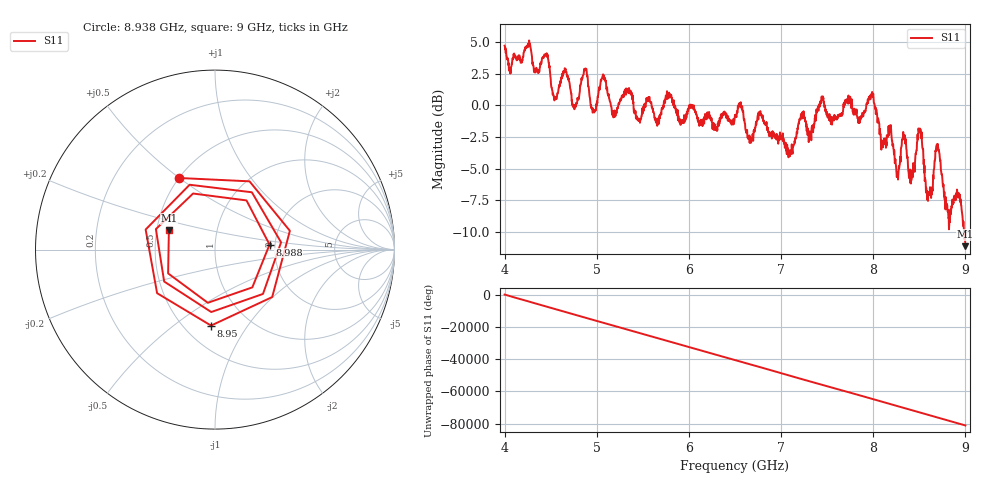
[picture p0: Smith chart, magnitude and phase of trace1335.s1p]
! Created with skrf 1.8.0 (http://scikit-rf.org).
# Hz S RI R 50.0
!freq ReS11 ImS11
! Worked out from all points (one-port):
!   1601 points, 4 GHz to 9 GHz, reference 50 ohm
!   lowest |S11| = -11.1 dB at 9 GHz (marker M1), VSWR 1.77, Z = 29 + j6.72 ohm
!   |S11| at or under -10 dB: 8.985785 GHz to end of sweep
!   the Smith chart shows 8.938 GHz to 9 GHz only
!   S11 on the Smith chart (normalised r, x): 8.938 GHz: 0.50, +0.50; 8.95 GHz: 0.67, -0.69; 8.988 GHz: 1.87, +0.11; 9 GHz: 0.58, +0.13
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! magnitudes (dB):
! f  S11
! 4 GHz  4.7
! 4.45 GHz  4.1
! 4.547 GHz  0.6
! 4.625 GHz  2.5
! 4.759 GHz  -0.3
! 4.875 GHz  2.8
! 4.959 GHz  -0.3
! 5.066 GHz  2.3
! 5.181 GHz  -0.9
! 5.25 GHz  0.3
! 5.875 GHz  -0.8
! 6.5 GHz  -0.8
! 7.125 GHz  -3.8
! 7.222 GHz  -0.7
! 7.75 GHz  0.7
! 7.988 GHz  1.1
! 8.259 GHz  -5.3
! 8.328 GHz  -2.3
! 8.375 GHz  -4.4
! 8.428 GHz  -5.7
! 8.503 GHz  -1.8
! 8.597 GHz  -6.9
! 8.697 GHz  -3.5
! 8.809 GHz  -8.4
! 8.938 GHz  -7.0
! 8.95 GHz  -7.5
! 8.988 GHz  -10.3
! 9 GHz  -11.1
